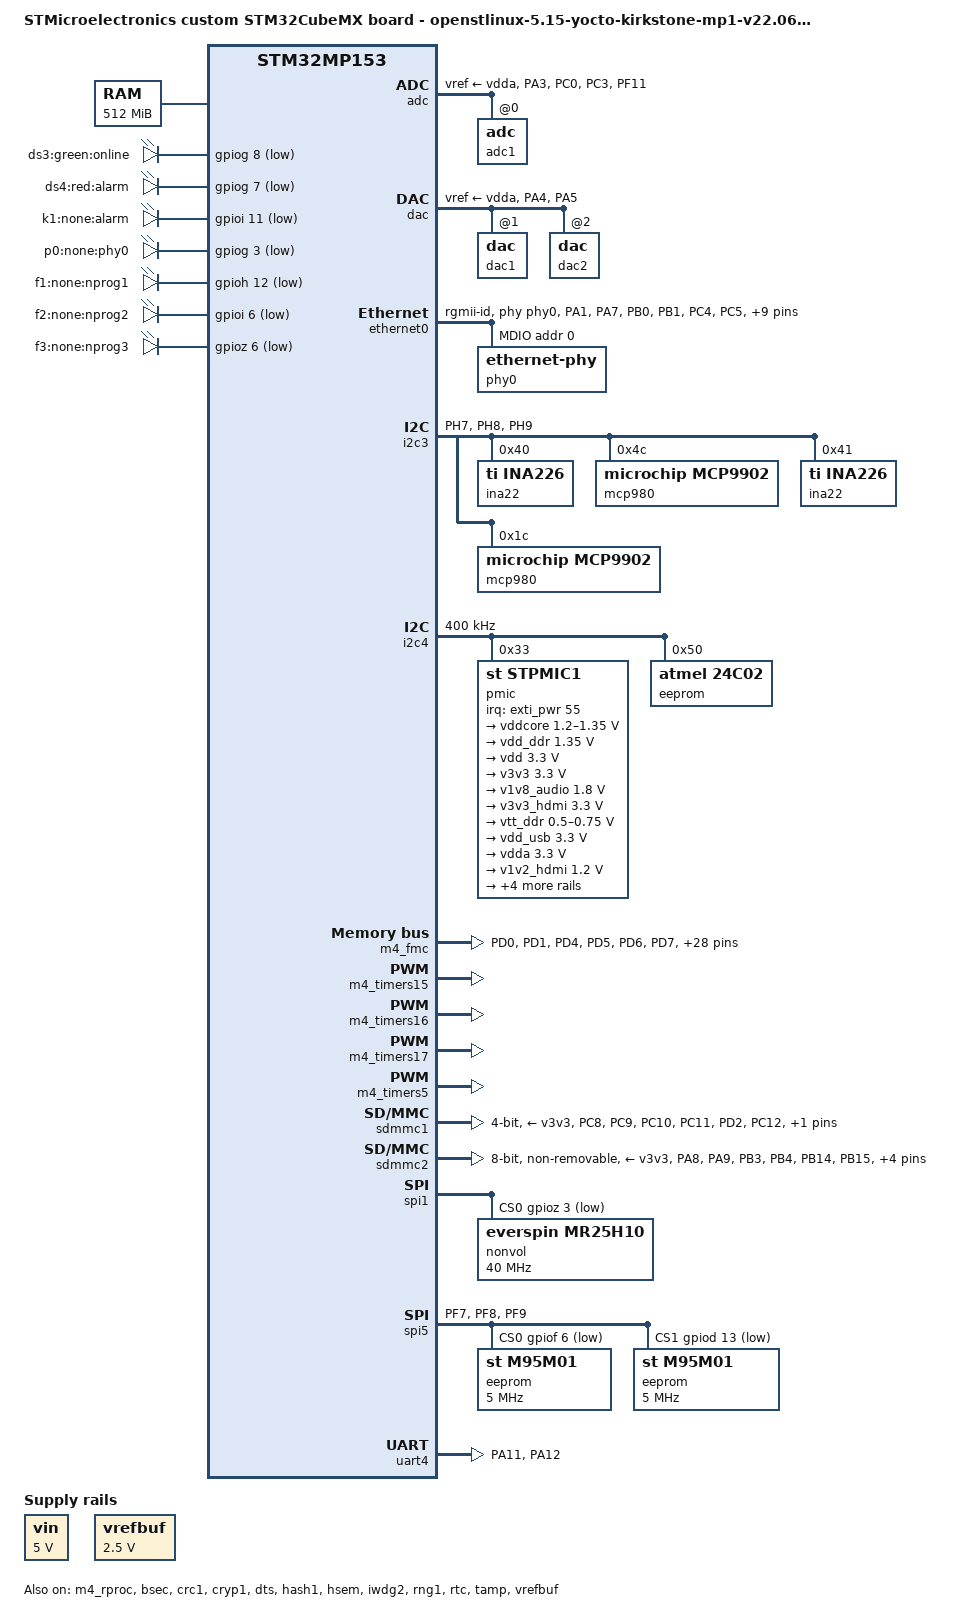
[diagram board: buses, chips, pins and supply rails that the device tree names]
/* SPDX-License-Identifier: (GPL-2.0+ OR BSD-3-Clause) */
/*
 * Copyright (C) STMicroelectronics 2022 - All Rights Reserved
 * Author: STM32CubeMX code generation for STMicroelectronics.
 */

/* For more information on Device Tree configuration, please refer to
 * https://wiki.st.com/stm32mpu/wiki/Category:Device_tree_configuration
 */

/dts-v1/;
#include <dt-bindings/pinctrl/stm32-pinfunc.h>

#include "stm32mp153.dtsi"
#include "stm32mp15xc.dtsi"
#include "stm32mp15xxac-pinctrl.dtsi"
#include "stm32mp15-m4-srm.dtsi"

/* USER CODE BEGIN includes */
#include <dt-bindings/mfd/st,stpmic1.h>
#include <dt-bindings/rtc/rtc-stm32.h>
/* USER CODE END includes */

/ {
	model = "STMicroelectronics custom STM32CubeMX board - openstlinux-5.15-yocto-kirkstone-mp1-v22.06.15";
	compatible = "st,stm32mp153c-brick-mx", "st,stm32mp153";

	memory@c0000000 {
		device_type = "memory";
		reg = <0xc0000000 0x20000000>;

		/* USER CODE BEGIN memory */
		/* USER CODE END memory */
	};

	reserved-memory {
		#address-cells = <1>;
		#size-cells = <1>;
		ranges;

		/* USER CODE BEGIN reserved-memory */
		mcuram2: mcuram2@10000000 {
			compatible = "shared-dma-pool";
			reg = <0x10000000 0x40000>;
			no-map;
		};

		vdev0vring0: vdev0vring0@10040000 {
			compatible = "shared-dma-pool";
			reg = <0x10040000 0x1000>;
			no-map;
		};

		vdev0vring1: vdev0vring1@10041000 {
			compatible = "shared-dma-pool";
			reg = <0x10041000 0x1000>;
			no-map;
		};

		vdev0buffer: vdev0buffer@10042000 {
			compatible = "shared-dma-pool";
			reg = <0x10042000 0x4000>;
			no-map;
		};

		mcu_rsc_table: mcu_rsc_table@10048000 {
			compatible = "shared-dma-pool";
			reg = <0x10048000 0x8000>;
			no-map;
		};

		mcuram: mcuram@30000000 {
			compatible = "shared-dma-pool";
			reg = <0x30000000 0x40000>;
			no-map;
		};

		retram: retram@38000000 {
			compatible = "shared-dma-pool";
			reg = <0x38000000 0x10000>;
			no-map;
		};

		optee@de000000 {
			reg = <0xde000000 0x2000000>;
			no-map;
		};
		/* USER CODE END reserved-memory */
	};

	/* USER CODE BEGIN root */
	aliases {
		ethernet0 = &ethernet0;
		serial0 = &uart4;
	};
	chosen {
		#address-cells = <1>;
		#size-cells = <1>;
		ranges;
		stdout-path = "serial0:115200n8";
	};
	cpus {
		cpu0: cpu@0 {
			clock-frequency = <65000000>;
		};
		cpu1: cpu@1 {
			clock-frequency = <65000000>;
		};
	};
	leds {
		compatible = "gpio-leds";
		ds3_green {
			label = "ds3:green:online";
			gpios = <&gpiog 8 GPIO_ACTIVE_LOW>;
			linux,default-trigger = "off";
			default-state = "off";
		};
		d4_red {
			label = "ds4:red:alarm";
			gpios = <&gpiog 7 GPIO_ACTIVE_LOW>;
			linux,default-trigger = "off";
			default-state = "off";
		};
		rly {
			label = "k1:none:alarm";
			gpios = <&gpioi 11 GPIO_ACTIVE_LOW>;
			linux,default-trigger = "off";
			default-state = "off";
		};
		phy0 {
			label = "p0:none:phy0";
			gpios = <&gpiog 3 GPIO_ACTIVE_LOW>;
			linux,default-trigger = "off";
			default-state = "off";
		};
		fpga1_nprog {
			label = "f1:none:nprog1";
			gpios = <&gpioh 12 GPIO_ACTIVE_LOW>;
			linux,default-trigger = "off";
			default-state = "off";
		};
		fpga2_nprog {
			label = "f2:none:nprog2";
			gpios = <&gpioi 6 GPIO_ACTIVE_LOW>;
			linux,default-trigger = "off";
			default-state = "off";
		};
		fpga3_nprog {
			label = "f3:none:nprog3";
			gpios = <&gpioz 6 GPIO_ACTIVE_LOW>;
			linux,default-trigger = "off";
			default-state = "off";
		};
	};
	usb_phy_tuning: usb-phy-tuning {
		st,hs-dc-level = <2>;
		st,fs-rftime-tuning;
		st,hs-rftime-reduction;
		st,hs-current-trim = <15>;
		st,hs-impedance-trim = <1>;
		st,squelch-level = <3>;
		st,hs-rx-offset = <2>;
		st,no-lsfs-sc;
	};
	vin: vin {
		compatible = "regulator-fixed";
		regulator-name = "vin";
		regulator-min-microvolt = <5000000>;
		regulator-max-microvolt = <5000000>;
		regulator-always-on;
	};
	/* USER CODE END root */

	clocks {
		/* USER CODE BEGIN clocks */
		/* USER CODE END clocks */

	};

}; /*root*/

&pinctrl {

	adc_pins_mx: adc_mx-0 {
		pins {
			pinmux = <STM32_PINMUX('A', 3, ANALOG)>, /* ADC1_INP15 */
					 <STM32_PINMUX('C', 0, ANALOG)>, /* ADC1_INP10 */
					 <STM32_PINMUX('C', 3, ANALOG)>, /* ADC1_INP13 */
					 <STM32_PINMUX('F', 11, ANALOG)>; /* ADC1_INP2 */
		};
	};

	adc_sleep_pins_mx: adc_sleep_mx-0 {
		pins {
			pinmux = <STM32_PINMUX('A', 3, ANALOG)>, /* ADC1_INP15 */
					 <STM32_PINMUX('C', 0, ANALOG)>, /* ADC1_INP10 */
					 <STM32_PINMUX('C', 3, ANALOG)>, /* ADC1_INP13 */
					 <STM32_PINMUX('F', 11, ANALOG)>; /* ADC1_INP2 */
		};
	};

	dac1_pins_mx: dac1_mx-0 {
		pins {
			pinmux = <STM32_PINMUX('A', 4, ANALOG)>, /* DAC1_OUT1 */
					 <STM32_PINMUX('A', 5, ANALOG)>; /* DAC1_OUT2 */
		};
	};

	dac1_sleep_pins_mx: dac1_sleep_mx-0 {
		pins {
			pinmux = <STM32_PINMUX('A', 4, ANALOG)>, /* DAC1_OUT1 */
					 <STM32_PINMUX('A', 5, ANALOG)>; /* DAC1_OUT2 */
		};
	};

	eth1_pins_mx: eth1_mx-0 {
		pins1 {
			pinmux = <STM32_PINMUX('A', 1, AF11)>, /* ETH1_RX_CLK */
					 <STM32_PINMUX('A', 7, AF11)>, /* ETH1_RX_CTL */
					 <STM32_PINMUX('B', 0, AF11)>, /* ETH1_RXD2 */
					 <STM32_PINMUX('B', 1, AF11)>, /* ETH1_RXD3 */
					 <STM32_PINMUX('C', 4, AF11)>, /* ETH1_RXD0 */
					 <STM32_PINMUX('C', 5, AF11)>; /* ETH1_RXD1 */
			bias-disable;
		};
		pins2 {
			pinmux = <STM32_PINMUX('A', 2, AF11)>; /* ETH1_MDIO */
			bias-disable;
			drive-push-pull;
			slew-rate = <0>;
		};
		pins3 {
			pinmux = <STM32_PINMUX('B', 11, AF11)>, /* ETH1_TX_CTL */
					 <STM32_PINMUX('C', 1, AF11)>, /* ETH1_MDC */
					 <STM32_PINMUX('C', 2, AF11)>, /* ETH1_TXD2 */
					 <STM32_PINMUX('E', 2, AF11)>, /* ETH1_TXD3 */
					 <STM32_PINMUX('G', 4, AF11)>, /* ETH1_GTX_CLK */
					 <STM32_PINMUX('G', 5, AF11)>, /* ETH1_CLK125 */
					 <STM32_PINMUX('G', 13, AF11)>, /* ETH1_TXD0 */
					 <STM32_PINMUX('G', 14, AF11)>; /* ETH1_TXD1 */
			bias-disable;
			drive-push-pull;
			slew-rate = <2>;
		};
	};

	eth1_sleep_pins_mx: eth1_sleep_mx-0 {
		pins {
			pinmux = <STM32_PINMUX('A', 1, ANALOG)>, /* ETH1_RX_CLK */
					 <STM32_PINMUX('A', 2, ANALOG)>, /* ETH1_MDIO */
					 <STM32_PINMUX('A', 7, ANALOG)>, /* ETH1_RX_CTL */
					 <STM32_PINMUX('B', 0, ANALOG)>, /* ETH1_RXD2 */
					 <STM32_PINMUX('B', 1, ANALOG)>, /* ETH1_RXD3 */
					 <STM32_PINMUX('B', 11, ANALOG)>, /* ETH1_TX_CTL */
					 <STM32_PINMUX('C', 1, ANALOG)>, /* ETH1_MDC */
					 <STM32_PINMUX('C', 2, ANALOG)>, /* ETH1_TXD2 */
					 <STM32_PINMUX('C', 4, ANALOG)>, /* ETH1_RXD0 */
					 <STM32_PINMUX('C', 5, ANALOG)>, /* ETH1_RXD1 */
					 <STM32_PINMUX('E', 2, ANALOG)>, /* ETH1_TXD3 */
					 <STM32_PINMUX('G', 4, ANALOG)>, /* ETH1_GTX_CLK */
					 <STM32_PINMUX('G', 5, ANALOG)>, /* ETH1_CLK125 */
					 <STM32_PINMUX('G', 13, ANALOG)>, /* ETH1_TXD0 */
					 <STM32_PINMUX('G', 14, ANALOG)>; /* ETH1_TXD1 */
		};
	};

	i2c3_pins_mx: i2c3_mx-0 {
		pins {
			pinmux = <STM32_PINMUX('H', 7, AF4)>, /* I2C3_SCL */
					 <STM32_PINMUX('H', 8, AF4)>, /* I2C3_SDA */
					 <STM32_PINMUX('H', 9, AF4)>; /* I2C3_SMBA */
			bias-pull-up;
			drive-open-drain;
			slew-rate = <0>;
		};
	};

	i2c3_sleep_pins_mx: i2c3_sleep_mx-0 {
		pins {
			pinmux = <STM32_PINMUX('H', 7, ANALOG)>, /* I2C3_SCL */
					 <STM32_PINMUX('H', 8, ANALOG)>, /* I2C3_SDA */
					 <STM32_PINMUX('H', 9, ANALOG)>; /* I2C3_SMBA */
		};
	};

	m4_fmc_pins_mx: m4_fmc_mx-0 {
		pins {
			pinmux = <STM32_PINMUX('D', 0, RSVD)>, /* FMC_D2 */
					 <STM32_PINMUX('D', 1, RSVD)>, /* FMC_D3 */
					 <STM32_PINMUX('D', 4, RSVD)>, /* FMC_NOE */
					 <STM32_PINMUX('D', 5, RSVD)>, /* FMC_NWE */
					 <STM32_PINMUX('D', 6, RSVD)>, /* FMC_NWAIT */
					 <STM32_PINMUX('D', 7, RSVD)>, /* FMC_NE1 */
					 <STM32_PINMUX('D', 8, RSVD)>, /* FMC_D13 */
					 <STM32_PINMUX('D', 9, RSVD)>, /* FMC_D14 */
					 <STM32_PINMUX('D', 10, RSVD)>, /* FMC_D15 */
					 <STM32_PINMUX('D', 14, RSVD)>, /* FMC_D0 */
					 <STM32_PINMUX('D', 15, RSVD)>, /* FMC_D1 */
					 <STM32_PINMUX('E', 7, RSVD)>, /* FMC_D4 */
					 <STM32_PINMUX('E', 8, RSVD)>, /* FMC_D5 */
					 <STM32_PINMUX('E', 9, RSVD)>, /* FMC_D6 */
					 <STM32_PINMUX('E', 10, RSVD)>, /* FMC_D7 */
					 <STM32_PINMUX('E', 11, RSVD)>, /* FMC_D8 */
					 <STM32_PINMUX('E', 12, RSVD)>, /* FMC_D9 */
					 <STM32_PINMUX('E', 13, RSVD)>, /* FMC_D10 */
					 <STM32_PINMUX('E', 14, RSVD)>, /* FMC_D11 */
					 <STM32_PINMUX('E', 15, RSVD)>, /* FMC_D12 */
					 <STM32_PINMUX('F', 0, RSVD)>, /* FMC_A0 */
					 <STM32_PINMUX('F', 1, RSVD)>, /* FMC_A1 */
					 <STM32_PINMUX('F', 2, RSVD)>, /* FMC_A2 */
					 <STM32_PINMUX('F', 3, RSVD)>, /* FMC_A3 */
					 <STM32_PINMUX('F', 4, RSVD)>, /* FMC_A4 */
					 <STM32_PINMUX('F', 5, RSVD)>, /* FMC_A5 */
					 <STM32_PINMUX('F', 12, RSVD)>, /* FMC_A6 */
					 <STM32_PINMUX('F', 13, RSVD)>, /* FMC_A7 */
					 <STM32_PINMUX('F', 14, RSVD)>, /* FMC_A8 */
					 <STM32_PINMUX('F', 15, RSVD)>, /* FMC_A9 */
					 <STM32_PINMUX('G', 0, RSVD)>, /* FMC_A10 */
					 <STM32_PINMUX('G', 1, RSVD)>, /* FMC_A11 */
					 <STM32_PINMUX('G', 9, RSVD)>, /* FMC_NE2 */
					 <STM32_PINMUX('G', 10, RSVD)>; /* FMC_NE3 */
		};
	};

	sdmmc1_pins_mx: sdmmc1_mx-0 {
		pins1 {
			pinmux = <STM32_PINMUX('C', 8, AF12)>, /* SDMMC1_D0 */
					 <STM32_PINMUX('C', 9, AF12)>, /* SDMMC1_D1 */
					 <STM32_PINMUX('C', 10, AF12)>, /* SDMMC1_D2 */
					 <STM32_PINMUX('C', 11, AF12)>, /* SDMMC1_D3 */
					 <STM32_PINMUX('D', 2, AF12)>; /* SDMMC1_CMD */
			bias-disable;
			drive-push-pull;
			slew-rate = <1>;
		};
		pins2 {
			pinmux = <STM32_PINMUX('C', 12, AF12)>; /* SDMMC1_CK */
			bias-disable;
			drive-push-pull;
			slew-rate = <3>;
		};
	};

	sdmmc1_opendrain_pins_mx: sdmmc1_opendrain_mx-0 {
		pins1 {
			pinmux = <STM32_PINMUX('C', 8, AF12)>, /* SDMMC1_D0 */
					 <STM32_PINMUX('C', 9, AF12)>, /* SDMMC1_D1 */
					 <STM32_PINMUX('C', 10, AF12)>, /* SDMMC1_D2 */
					 <STM32_PINMUX('C', 11, AF12)>; /* SDMMC1_D3 */
			bias-disable;
			drive-push-pull;
			slew-rate = <1>;
		};
		pins2 {
			pinmux = <STM32_PINMUX('C', 12, AF12)>; /* SDMMC1_CK */
			bias-disable;
			drive-push-pull;
			slew-rate = <3>;
		};
		pins3 {
			pinmux = <STM32_PINMUX('D', 2, AF12)>; /* SDMMC1_CMD */
			bias-disable;
			drive-open-drain;
			slew-rate = <1>;
		};
	};

	sdmmc1_sleep_pins_mx: sdmmc1_sleep_mx-0 {
		pins {
			pinmux = <STM32_PINMUX('C', 8, ANALOG)>, /* SDMMC1_D0 */
					 <STM32_PINMUX('C', 9, ANALOG)>, /* SDMMC1_D1 */
					 <STM32_PINMUX('C', 10, ANALOG)>, /* SDMMC1_D2 */
					 <STM32_PINMUX('C', 11, ANALOG)>, /* SDMMC1_D3 */
					 <STM32_PINMUX('C', 12, ANALOG)>, /* SDMMC1_CK */
					 <STM32_PINMUX('D', 2, ANALOG)>; /* SDMMC1_CMD */
		};
	};

	sdmmc2_pins_mx: sdmmc2_mx-0 {
		pins1 {
			pinmux = <STM32_PINMUX('A', 8, AF9)>, /* SDMMC2_D4 */
					 <STM32_PINMUX('A', 9, AF10)>, /* SDMMC2_D5 */
					 <STM32_PINMUX('B', 3, AF9)>, /* SDMMC2_D2 */
					 <STM32_PINMUX('B', 4, AF9)>, /* SDMMC2_D3 */
					 <STM32_PINMUX('B', 14, AF9)>, /* SDMMC2_D0 */
					 <STM32_PINMUX('B', 15, AF9)>, /* SDMMC2_D1 */
					 <STM32_PINMUX('D', 3, AF9)>, /* SDMMC2_D7 */
					 <STM32_PINMUX('E', 5, AF9)>, /* SDMMC2_D6 */
					 <STM32_PINMUX('G', 6, AF10)>; /* SDMMC2_CMD */
			bias-disable;
			drive-push-pull;
			slew-rate = <1>;
		};
		pins2 {
			pinmux = <STM32_PINMUX('E', 3, AF9)>; /* SDMMC2_CK */
			bias-disable;
			drive-push-pull;
			slew-rate = <3>;
		};
	};

	sdmmc2_opendrain_pins_mx: sdmmc2_opendrain_mx-0 {
		pins1 {
			pinmux = <STM32_PINMUX('A', 8, AF9)>, /* SDMMC2_D4 */
					 <STM32_PINMUX('A', 9, AF10)>, /* SDMMC2_D5 */
					 <STM32_PINMUX('B', 3, AF9)>, /* SDMMC2_D2 */
					 <STM32_PINMUX('B', 4, AF9)>, /* SDMMC2_D3 */
					 <STM32_PINMUX('B', 14, AF9)>, /* SDMMC2_D0 */
					 <STM32_PINMUX('B', 15, AF9)>, /* SDMMC2_D1 */
					 <STM32_PINMUX('D', 3, AF9)>, /* SDMMC2_D7 */
					 <STM32_PINMUX('E', 5, AF9)>; /* SDMMC2_D6 */
			bias-disable;
			drive-push-pull;
			slew-rate = <1>;
		};
		pins2 {
			pinmux = <STM32_PINMUX('E', 3, AF9)>; /* SDMMC2_CK */
			bias-disable;
			drive-push-pull;
			slew-rate = <3>;
		};
		pins3 {
			pinmux = <STM32_PINMUX('G', 6, AF10)>; /* SDMMC2_CMD */
			bias-disable;
			drive-open-drain;
			slew-rate = <1>;
		};
	};

	sdmmc2_sleep_pins_mx: sdmmc2_sleep_mx-0 {
		pins {
			pinmux = <STM32_PINMUX('A', 8, ANALOG)>, /* SDMMC2_D4 */
					 <STM32_PINMUX('A', 9, ANALOG)>, /* SDMMC2_D5 */
					 <STM32_PINMUX('B', 3, ANALOG)>, /* SDMMC2_D2 */
					 <STM32_PINMUX('B', 4, ANALOG)>, /* SDMMC2_D3 */
					 <STM32_PINMUX('B', 14, ANALOG)>, /* SDMMC2_D0 */
					 <STM32_PINMUX('B', 15, ANALOG)>, /* SDMMC2_D1 */
					 <STM32_PINMUX('D', 3, ANALOG)>, /* SDMMC2_D7 */
					 <STM32_PINMUX('E', 3, ANALOG)>, /* SDMMC2_CK */
					 <STM32_PINMUX('E', 5, ANALOG)>, /* SDMMC2_D6 */
					 <STM32_PINMUX('G', 6, ANALOG)>; /* SDMMC2_CMD */
		};
	};

	spi5_pins_mx: spi5_mx-0 {
		pins {
			pinmux = <STM32_PINMUX('F', 7, AF5)>, /* SPI5_SCK */
					 <STM32_PINMUX('F', 8, AF5)>, /* SPI5_MISO */
					 <STM32_PINMUX('F', 9, AF5)>; /* SPI5_MOSI */
			bias-disable;
			drive-push-pull;
			slew-rate = <1>;
		};
	};

	spi5_sleep_pins_mx: spi5_sleep_mx-0 {
		pins {
			pinmux = <STM32_PINMUX('F', 7, ANALOG)>, /* SPI5_SCK */
					 <STM32_PINMUX('F', 8, ANALOG)>, /* SPI5_MISO */
					 <STM32_PINMUX('F', 9, ANALOG)>; /* SPI5_MOSI */
		};
	};

	uart4_pins_mx: uart4_mx-0 {
		pins1 {
			pinmux = <STM32_PINMUX('A', 11, AF6)>; /* UART4_RX */
			bias-disable;
		};
		pins2 {
			pinmux = <STM32_PINMUX('A', 12, AF6)>; /* UART4_TX */
			bias-disable;
			drive-push-pull;
			slew-rate = <0>;
		};
	};

	uart4_sleep_pins_mx: uart4_sleep_mx-0 {
		pins {
			pinmux = <STM32_PINMUX('A', 11, ANALOG)>, /* UART4_RX */
					 <STM32_PINMUX('A', 12, ANALOG)>; /* UART4_TX */
		};
	};

	/* USER CODE BEGIN pinctrl */
	/* USER CODE END pinctrl */
};

&pinctrl_z {

	i2c4_pins_z_mx: i2c4_mx-0 {
		pins {
			pinmux = <STM32_PINMUX('Z', 4, AF6)>, /* I2C4_SCL */
					 <STM32_PINMUX('Z', 5, AF6)>; /* I2C4_SDA */
			bias-pull-up;
			drive-open-drain;
			slew-rate = <0>;
		};
	};

	i2c4_sleep_pins_z_mx: i2c4_sleep_mx-0 {
		pins {
			pinmux = <STM32_PINMUX('Z', 4, ANALOG)>, /* I2C4_SCL */
					 <STM32_PINMUX('Z', 5, ANALOG)>; /* I2C4_SDA */
		};
	};

	spi1_pins_z_mx: spi1_mx-0 {
		pins {
			pinmux = <STM32_PINMUX('Z', 0, AF5)>, /* SPI1_SCK */
					 <STM32_PINMUX('Z', 1, AF5)>, /* SPI1_MISO */
					 <STM32_PINMUX('Z', 2, AF5)>; /* SPI1_MOSI */
			bias-disable;
			drive-push-pull;
			slew-rate = <1>;
		};
	};

	spi1_sleep_pins_z_mx: spi1_sleep_mx-0 {
		pins {
			pinmux = <STM32_PINMUX('Z', 0, ANALOG)>, /* SPI1_SCK */
					 <STM32_PINMUX('Z', 1, ANALOG)>, /* SPI1_MISO */
					 <STM32_PINMUX('Z', 2, ANALOG)>; /* SPI1_MOSI */
		};
	};

	/* USER CODE BEGIN pinctrl_z */
	/* USER CODE END pinctrl_z */
};

&m4_rproc{
	/*Restriction: "memory-region" property is not managed - please to use User-Section if needed*/
	mboxes = <&ipcc 0>, <&ipcc 1>, <&ipcc 2>;
	mbox-names = "vq0", "vq1", "shutdown";
	status = "okay";

	/* USER CODE BEGIN m4_rproc */
	memory-region = <&retram>, <&mcuram>, <&mcuram2>, <&vdev0vring0>,
			<&vdev0vring1>, <&vdev0buffer>;
	/* USER CODE END m4_rproc */

	m4_system_resources{
		status = "okay";

		/* USER CODE BEGIN m4_system_resources */
		/* USER CODE END m4_system_resources */
	};
};

&adc{
	pinctrl-names = "default", "sleep";
	pinctrl-0 = <&adc_pins_mx>;
	pinctrl-1 = <&adc_sleep_pins_mx>;
	status = "okay";

	/* USER CODE BEGIN adc */
	vdda-supply = <&vdda>;
	vref-supply = <&vdda>;
	adc1: adc@0 {
		/* private resources for ADC1 */
		st,adc-channels = <0 1 2 10 13 15>;
		st,min-sample-time-nsecs = <30000>;
		assigned-resolution-bits = <16>;
		status = "okay";
	};
	/* USER CODE END adc */
};

&bsec{
	status = "okay";

	/* USER CODE BEGIN bsec */
	/* USER CODE END bsec */
};

&crc1{
	status = "okay";

	/* USER CODE BEGIN crc1 */
	/* USER CODE END crc1 */
};

&cryp1{
	status = "okay";

	/* USER CODE BEGIN cryp1 */
	/* USER CODE END cryp1 */
};

&dac{
	pinctrl-names = "default", "sleep";
	pinctrl-0 = <&dac1_pins_mx>;
	pinctrl-1 = <&dac1_sleep_pins_mx>;
	status = "okay";

	/* USER CODE BEGIN dac */
	vref-supply = <&vdda>;
	dac1: dac@1 {
		status = "okay";
	};
	dac2: dac@2 {
		status = "okay";
	};
	/* USER CODE END dac */
};

&dma1{
	status = "okay";

	/* USER CODE BEGIN dma1 */
	sram = <&dma_pool>;
	/* USER CODE END dma1 */
};

&dma2{
	status = "disabled";

	/* USER CODE BEGIN dma2 */
	/* USER CODE END dma2 */
};

&dmamux1{
	status = "okay";

	dma-masters = <&dma1>;
	dma-channels = <8>;

	/* USER CODE BEGIN dmamux1 */
	/* USER CODE END dmamux1 */
};

&dts{
	status = "okay";

	/* USER CODE BEGIN dts */
	/* USER CODE END dts */
};

&ethernet0{
	pinctrl-names = "default", "sleep";
	pinctrl-0 = <&eth1_pins_mx>;
	pinctrl-1 = <&eth1_sleep_pins_mx>;
	status = "okay";

	/* USER CODE BEGIN ethernet0 */
	phy-mode = "rgmii-id";
	max-speed = <1000>;
	phy-handle = <&phy0>;
	nvmem-cells = <&ethernet_mac_address>;
	nvmem-cell-names = "mac-address";

	mdio0 {
		#address-cells = <1>;
		#size-cells = <0>;
		compatible = "snps,dwmac-mdio";
		phy0: ethernet-phy@0 {
			reg = <0>;
		};
	};
	/* USER CODE END ethernet0 */
};

&hash1{
	status = "okay";

	/* USER CODE BEGIN hash1 */
	/* USER CODE END hash1 */
};

&hsem{
	status = "okay";

	/* USER CODE BEGIN hsem */
	/* USER CODE END hsem */
};

&i2c3{
	pinctrl-names = "default", "sleep";
	pinctrl-0 = <&i2c3_pins_mx>;
	pinctrl-1 = <&i2c3_sleep_pins_mx>;
	status = "okay";

	/* USER CODE BEGIN i2c3 */
	/* spare dmas for other usage */
	/delete-property/dmas;
	/delete-property/dma-names;

	ina22@40 {
		compatible = "ti,ina226";
		reg = <0x40>;
		shunt_resistor = <10000>;
		status = "okay";
	};
	mcp980@4c {
		compatible = "microchip,mcp9902";
		reg = <0x4c>;
		status = "okay";
	};
	ina22@41 {
		compatible = "ti,ina226";
		reg = <0x41>;
		shunt_resistor = <10000>;
		status = "okay";
	};
	mcp980@1c {
		compatible = "microchip,mcp9902";
		reg = <0x1c>;
		status = "okay";
	};
	/* USER CODE END i2c3 */
};

&i2c4{
	pinctrl-names = "default", "sleep";
	pinctrl-0 = <&i2c4_pins_z_mx>;
	pinctrl-1 = <&i2c4_sleep_pins_z_mx>;
	status = "okay";

	/* USER CODE BEGIN i2c4 */
	i2c-scl-rising-time-ns = <185>;
	i2c-scl-falling-time-ns = <20>;
	clock-frequency = <400000>;
	/* spare dmas for other usage */
	/delete-property/ dmas;
	/delete-property/ dma-names;
	pmic: stpmic@33 {
		compatible = "st,stpmic1";
		reg = <0x33>;
		interrupts-extended = <&exti_pwr 55 IRQ_TYPE_EDGE_FALLING>;
		interrupt-controller;
		#interrupt-cells = <2>;
		status = "okay";

		regulators {
			compatible = "st,stpmic1-regulators";
			buck1-supply = <&vin>;
			buck2-supply = <&vin>;
			buck3-supply = <&vin>;
			buck4-supply = <&vin>;
			ldo1-supply = <&v3v3>;
			ldo2-supply = <&vin>;
			ldo3-supply = <&vdd_ddr>;
			ldo4-supply = <&vin>;
			ldo5-supply = <&vin>;
			ldo6-supply = <&v3v3>;
			vref_ddr-supply = <&vin>;
			boost-supply = <&vin>;
			pwr_sw1-supply = <&bst_out>;
			pwr_sw2-supply = <&bst_out>;

			vddcore: buck1 {
				regulator-name = "vddcore";
				regulator-min-microvolt = <1200000>;
				regulator-max-microvolt = <1350000>;
				regulator-always-on;
				regulator-initial-mode = <0>;
				regulator-over-current-protection;
			};

			vdd_ddr: buck2 {
				regulator-name = "vdd_ddr";
				regulator-min-microvolt = <1350000>;
				regulator-max-microvolt = <1350000>;
				regulator-always-on;
				regulator-initial-mode = <0>;
				regulator-over-current-protection;
			};

			vdd: buck3 {
				regulator-name = "vdd";
				regulator-min-microvolt = <3300000>;
				regulator-max-microvolt = <3300000>;
				regulator-always-on;
				st,mask-reset;
				regulator-initial-mode = <0>;
				regulator-over-current-protection;
			};

			v3v3: buck4 {
				regulator-name = "v3v3";
				regulator-min-microvolt = <3300000>;
				regulator-max-microvolt = <3300000>;
				regulator-always-on;
				regulator-over-current-protection;
				regulator-initial-mode = <0>;
			};

			v1v8_audio: ldo1 {
				regulator-name = "v1v8_audio";
				regulator-min-microvolt = <1800000>;
				regulator-max-microvolt = <1800000>;
				regulator-always-on;
				interrupts = <IT_CURLIM_LDO1 0>;
			};

			v3v3_hdmi: ldo2 {
				regulator-name = "v3v3_hdmi";
				regulator-min-microvolt = <3300000>;
				regulator-max-microvolt = <3300000>;
				regulator-always-on;
				interrupts = <IT_CURLIM_LDO2 0>;
			};

			vtt_ddr: ldo3 {
				regulator-name = "vtt_ddr";
				regulator-min-microvolt = <500000>;
				regulator-max-microvolt = <750000>;
				regulator-always-on;
				regulator-over-current-protection;
			};

			vdd_usb: ldo4 {
				regulator-name = "vdd_usb";
				regulator-min-microvolt = <3300000>;
				regulator-max-microvolt = <3300000>;
				interrupts = <IT_CURLIM_LDO4 0>;
				regulator-always-on;
			};

			vdda: ldo5 {
				regulator-name = "vdda";
				regulator-min-microvolt = <3300000>;
				regulator-max-microvolt = <3300000>;
				interrupts = <IT_CURLIM_LDO5 0>;
				regulator-boot-on;
			};

			v1v2_hdmi: ldo6 {
				regulator-name = "v1v2_hdmi";
				regulator-min-microvolt = <1200000>;
				regulator-max-microvolt = <1200000>;
				regulator-always-on;
				interrupts = <IT_CURLIM_LDO6 0>;
			};

			vref_ddr: vref_ddr {
				regulator-name = "vref_ddr";
				regulator-always-on;
				regulator-over-current-protection;
			};

			 bst_out: boost {
				regulator-name = "bst_out";
				interrupts = <IT_OCP_BOOST 0>;
			 };

			vbus_otg: pwr_sw1 {
				regulator-name = "vbus_otg";
				interrupts = <IT_OCP_OTG 0>;
			 };

			 vbus_sw: pwr_sw2 {
				regulator-name = "vbus_sw";
				interrupts = <IT_OCP_SWOUT 0>;
				regulator-active-discharge = <1>;
			 };
		};

		onkey {
			compatible = "st,stpmic1-onkey";
			interrupts = <IT_PONKEY_F 0>, <IT_PONKEY_R 0>;
			interrupt-names = "onkey-falling", "onkey-rising";
			power-off-time-sec = <10>;
			status = "okay";
		};

		watchdog {
			compatible = "st,stpmic1-wdt";
			status = "disabled";
		};
	};
	eeprom@50 {
		compatible = "atmel,24c02";
		reg = <0x50>;
		pagesize = <16>;
	};
	/* USER CODE END i2c4 */
};

&ipcc{
	status = "okay";

	/* USER CODE BEGIN ipcc */
	/* USER CODE END ipcc */
};

&iwdg2{
	status = "okay";

	/* USER CODE BEGIN iwdg2 */
	timeout-sec = <32>;
	/* USER CODE END iwdg2 */
};

&m4_dma2{
	status = "okay";

	/* USER CODE BEGIN m4_dma2 */
	/* USER CODE END m4_dma2 */
};

&m4_fmc{
	pinctrl-names = "default";
	pinctrl-0 = <&m4_fmc_pins_mx>;
	status = "okay";

	/* USER CODE BEGIN m4_fmc */
	/* USER CODE END m4_fmc */
};

&m4_timers15{
	status = "okay";

	/* USER CODE BEGIN m4_timers15 */
	/* USER CODE END m4_timers15 */
};

&m4_timers16{
	status = "okay";

	/* USER CODE BEGIN m4_timers16 */
	/* USER CODE END m4_timers16 */
};

&m4_timers17{
	status = "okay";

	/* USER CODE BEGIN m4_timers17 */
	/* USER CODE END m4_timers17 */
};

&m4_timers5{
	status = "okay";

	/* USER CODE BEGIN m4_timers5 */
	/* USER CODE END m4_timers5 */
};

&mdma1{
	status = "okay";

	/* USER CODE BEGIN mdma1 */
	/* USER CODE END mdma1 */
};

&rcc{
	status = "okay";

	/* USER CODE BEGIN rcc */
	/* USER CODE END rcc */
};

&rng1{
	status = "okay";

	/* USER CODE BEGIN rng1 */
	/* USER CODE END rng1 */
};

&rtc{
	status = "okay";

	/* USER CODE BEGIN rtc */
	/* USER CODE END rtc */
};

&sdmmc1{
	pinctrl-names = "default", "opendrain", "sleep";
	pinctrl-0 = <&sdmmc1_pins_mx>;
	pinctrl-1 = <&sdmmc1_opendrain_pins_mx>;
	pinctrl-2 = <&sdmmc1_sleep_pins_mx>;
	status = "okay";

	/* USER CODE BEGIN sdmmc1 */
	cd-gpios = <&gpiob 7 (GPIO_ACTIVE_LOW | GPIO_PULL_UP)>;
	disable-wp;
	st,neg-edge;
	bus-width = <4>;
	vmmc-supply = <&v3v3>;
	/* USER CODE END sdmmc1 */
};

&sdmmc2{
	pinctrl-names = "default", "opendrain", "sleep";
	pinctrl-0 = <&sdmmc2_pins_mx>;
	pinctrl-1 = <&sdmmc2_opendrain_pins_mx>;
	pinctrl-2 = <&sdmmc2_sleep_pins_mx>;
	status = "okay";

	/* USER CODE BEGIN sdmmc2 */
	non-removable;
	no-sd;
	no-sdio;
	st,neg-edge;
	bus-width = <8>;
	vmmc-supply = <&v3v3>;
	vqmmc-supply = <&vdd>;
	mmc-ddr-3_3v;
	/* USER CODE END sdmmc2 */
};

&spi1{
	pinctrl-names = "default", "sleep";
	pinctrl-0 = <&spi1_pins_z_mx>;
	pinctrl-1 = <&spi1_sleep_pins_z_mx>;
	status = "okay";

	/* USER CODE BEGIN spi1 */
	cs-gpios = <&gpioz 3 GPIO_ACTIVE_LOW>;
//	spidev@0 {
//		#address-cells = <1>;
//		#size-cells = <0>;
//		compatible = "spidev";
//		spi-max-frequency = <40000000>;
//		reg = <0>; /* CS #0 */
//	};
	nonvol@0 {
		#address-cells = <1>;
		#size-cells = <1>;
		compatible = "everspin,mr25h10";
		reg = <0>; /* CS #0 */
		spi-max-frequency = <40000000>;
		status = "okay";
	};
	/* USER CODE END spi1 */
};

&spi5{
	pinctrl-names = "default", "sleep";
	pinctrl-0 = <&spi5_pins_mx>;
	pinctrl-1 = <&spi5_sleep_pins_mx>;
	status = "okay";

	/* USER CODE BEGIN spi5 */
	cs-gpios = <&gpiof 6 GPIO_ACTIVE_LOW>, <&gpiod 13 GPIO_ACTIVE_LOW>;
//	spidev@0 {
//		#address-cells = <1>;
//		#size-cells = <0>;
//		compatible = "spidev";
//		spi-max-frequency = <5000000>;
//		reg = <0>; /* CS #0 */
//	};
//	spidev@1 {
//		#address-cells = <1>;
//		#size-cells = <0>;
//		compatible = "spidev";
//		spi-max-frequency = <5000000>;
//		reg = <1>; /* CS #1 */
//	};
	eeprom@0 {
		compatible = "st,m95m01", "atmel,at25";
		reg = <0>; /* CS #0 */
		spi-max-frequency = <5000000>;
		pagesize = <256>;
		size = <131072>;
		address-width = <24>;
		status = "okay";
	};
	eeprom@1 {
		compatible = "st,m95m01", "atmel,at25";
		reg = <1>; /* CS #1 */
		spi-max-frequency = <5000000>;
		pagesize = <256>;
		size = <131072>;
		address-width = <24>;
		status = "okay";
	};
	/* USER CODE END spi5 */
};

&tamp{
	status = "okay";

	/* USER CODE BEGIN tamp */
	/* USER CODE END tamp */
};

&uart4{
	pinctrl-names = "default", "sleep";
	pinctrl-0 = <&uart4_pins_mx>;
	pinctrl-1 = <&uart4_sleep_pins_mx>;
	status = "okay";

	/* USER CODE BEGIN uart4 */
	/* spare dmas for other usage */
	/* also appears erlang cannot use uart4 as console when DMA is enabled */
	/delete-property/ dmas;
	/delete-property/ dma-names;
	/* USER CODE END uart4 */
};

&vrefbuf{
	status = "okay";

	/* USER CODE BEGIN vrefbuf */
	regulator-min-microvolt = <2500000>;
	regulator-max-microvolt = <2500000>;
	vdda-supply = <&vdd>;
	/* USER CODE END vrefbuf */
};

/* USER CODE BEGIN addons */
&m4_timers17 {
	status = "okay";
};

&pwr_regulators {
	vdd-supply = <&vdd>;
	vdd_3v3_usbfs-supply = <&vdd_usb>;
};

&sram {
	dma_pool: dma_pool@0 {
		reg = <0x50000 0x10000>;
		pool;
	};
};
/* USER CODE END addons */

